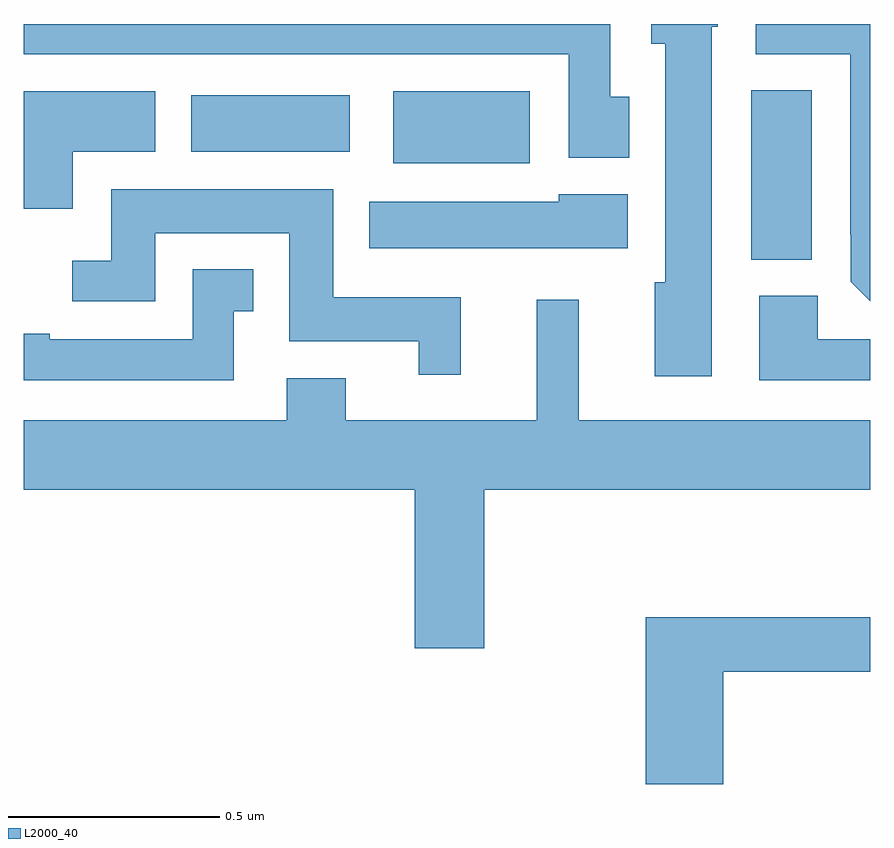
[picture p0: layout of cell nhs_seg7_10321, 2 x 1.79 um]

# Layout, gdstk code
import gdstk
lib = gdstk.Library(unit=1e-6, precision=1e-09)
def R(c, l, rs):  # rectangles x0, y0, x1, y1
    for r in rs: c.add(gdstk.rectangle(r[:2], r[2:], *l))
def P(c, l, *ps):  # polygons
    for p in ps: c.add(gdstk.Polygon(p, *l))
L2000_40 = (2000, 40)

nhs_seg7_10321 = lib.new_cell('nhs_seg7_10321')
R(nhs_seg7_10321, L2000_40, [(249.719,1050.443,249.862,1050.844), (248.873,1050.671,249.196,1050.841), (248.396,1050.698,248.77,1050.832)])
P(nhs_seg7_10321, L2000_40, [(249.43,1050.828),(249.385,1050.828),(249.385,1051),(248,1051),(248,1050.929),(249.288,1050.929),(249.288,1050.684),(249.43,1050.684)],
  [(250,1051),(249.729,1051),(249.729,1050.929),(249.953,1050.929),(249.953,1050.502),(249.954,1050.502),(249.954,1050.391),(250,1050.345)],
  [(249.625,1050.993),(249.64,1050.993),(249.64,1051),(249.482,1051),(249.482,1050.953),(249.515,1050.953),(249.515,1050.39),(249.491,1050.39),(249.491,1050.168),(249.625,1050.168)],
  [(248.116,1050.698),(248.311,1050.698),(248.311,1050.841),(248,1050.841),(248,1050.564),(248.116,1050.564)],
  [(249.032,1050.355),(248.731,1050.355),(248.731,1050.61),(248.207,1050.61),(248.207,1050.441),(248.115,1050.441),(248.115,1050.345),(248.311,1050.345),(248.311,1050.506),(248.627,1050.506),(248.627,1050.251),(248.933,1050.251),(248.933,1050.171),(249.032,1050.171)],
  [(249.427,1050.598),(249.264,1050.598),(249.264,1050.58),(248.816,1050.58),(248.816,1050.47),(249.427,1050.47)],
  [(248.496,1050.321),(248.542,1050.321),(248.542,1050.421),(248.4,1050.421),(248.4,1050.255),(248.062,1050.255),(248.062,1050.268),(248,1050.268),(248,1050.159),(248.496,1050.159)],
  [(250,1050.255),(249.876,1050.255),(249.876,1050.358),(249.737,1050.358),(249.737,1050.159),(250,1050.159)],
  [(249.088,1049.9),(250,1049.9),(250,1050.064),(249.311,1050.064),(249.311,1050.349),(249.212,1050.349),(249.212,1050.064),(248.761,1050.064),(248.761,1050.163),(248.621,1050.163),(248.621,1050.064),(248,1050.064),(248,1049.9),(248.924,1049.9),(248.924,1049.526),(249.088,1049.526)],
  [(249.653,1049.47),(250,1049.47),(250,1049.599),(249.47,1049.599),(249.47,1049.205),(249.653,1049.205)])

lib.write_gds('nhs_seg7_10321.gds')
